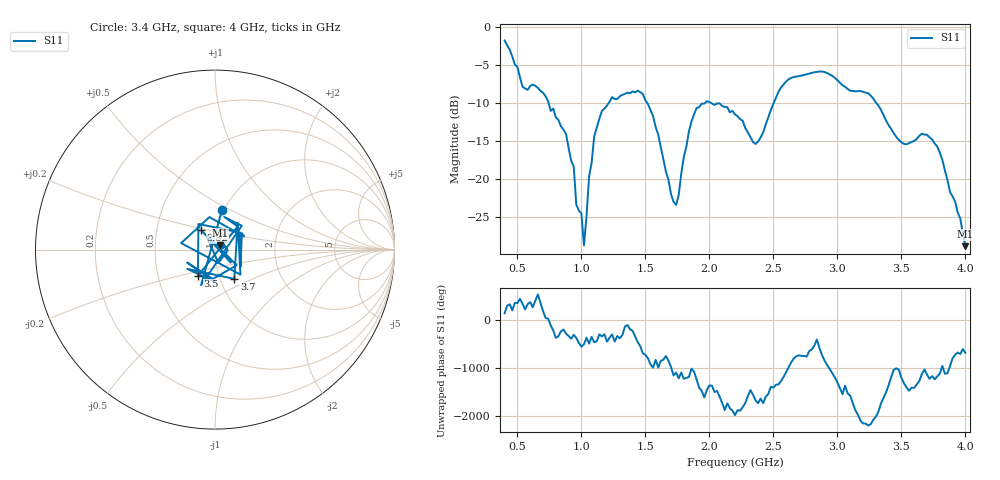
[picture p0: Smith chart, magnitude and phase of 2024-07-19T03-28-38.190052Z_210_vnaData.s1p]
!Created with skrf (http://scikit-rf.org).
# Hz S RI R 50.0
!freq ReS11 ImS11
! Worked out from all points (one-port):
!   181 points, 400 MHz to 4 GHz, reference 50 ohm
!   lowest |S11| = -28.9 dB at 4 GHz (marker M1), VSWR 1.07, Z = 52.8 + j2.43 ohm
!   |S11| at or under -10 dB: 743.9 MHz to 1.213 GHz (469.2 MHz wide, 48 % of centre); 2.014 GHz to 2.502 GHz (488.1 MHz wide, 21.6 % of centre); 3.304 GHz to end of sweep (the widest 3 of 4)
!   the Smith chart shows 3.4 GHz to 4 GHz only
!   S11 on the Smith chart (normalised r, x): 3.4 GHz: 0.98, +0.46; 3.5 GHz: 0.79, -0.24; 3.7 GHz: 1.17, -0.40; 3.82 GHz: 0.84, +0.19; 4 GHz: 1.06, +0.05
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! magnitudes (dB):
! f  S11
! 400 MHz  -1.8
! 540 MHz  -7.8
! 700 MHz  -8.6
! 860 MHz  -13.5
! 940 MHz  -18.4
! 960 MHz  -23.4
! 1 GHz  -24.6
! 1.02 GHz  -28.7
! 1.06 GHz  -19.7
! 1.1 GHz  -14.4
! 1.3 GHz  -9.1
! 1.48 GHz  -8.8
! 1.56 GHz  -11.7
! 1.72 GHz  -23.0
! 1.76 GHz  -22.1
! 1.84 GHz  -13.7
! 1.9 GHz  -10.7
! 2.2 GHz  -11.5
! 2.36 GHz  -15.4
! 2.66 GHz  -6.6
! 3.1 GHz  -8.4
! 3.24 GHz  -8.7
! 3.4 GHz  -12.9
! 3.5 GHz  -15.2
! 3.56 GHz  -15.3
! 3.7 GHz  -14.2
! 3.82 GHz  -17.5
! 4 GHz  -28.9
